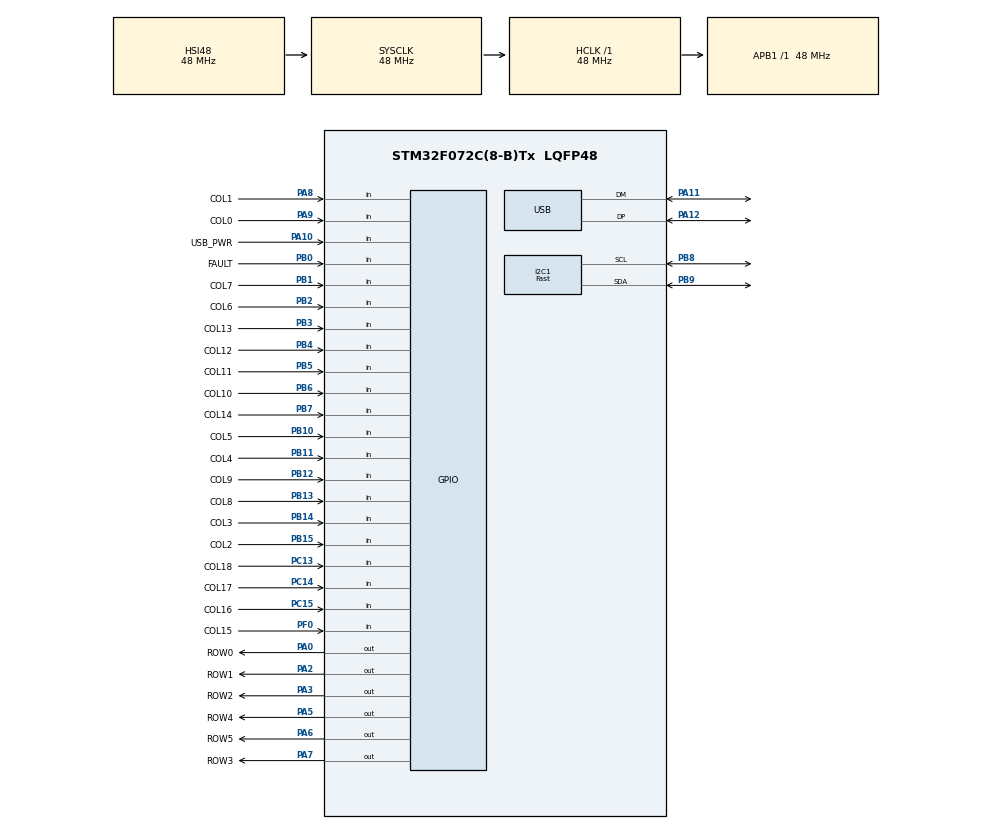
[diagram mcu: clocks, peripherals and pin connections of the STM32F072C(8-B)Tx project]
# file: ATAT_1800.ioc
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I2C1.I2C_Fall_Time=20
I2C1.I2C_Rise_Time=100
I2C1.I2C_Speed_Mode=I2C_Fast
I2C1.NoStretchMode=I2C_NOSTRETCH_DISABLE
I2C1.Speed=400
I2C1.Timing=0x0010020A
Mcu.Family=STM32F0
Mcu.Name=STM32F072C(8-B)Tx
Mcu.Package=LQFP48
NVIC.TIM14_IRQn=true\:1\:0\:true\:false\:true\:true\:true\:true
NVIC.TIM7_IRQn=true\:3\:0\:true\:false\:true\:true\:true\:true
NVIC.USB_IRQn=true\:0\:0\:false\:false\:true\:false\:true\:true
PA0.GPIO_Label=ROW0
PA0.GPIO_ModeDefaultOutputPP=GPIO_MODE_OUTPUT_PP
PA0.GPIO_PuPd=GPIO_NOPULL
PA0.PinState=GPIO_PIN_SET
PA0.Signal=GPIO_Output
PA10.GPIO_Label=USB_PWR
PA10.GPIO_PuPd=GPIO_NOPULL
PA10.Signal=GPIO_Input
PA11.Mode=Device
PA11.Signal=USB_DM
PA12.Mode=Device
PA12.Signal=USB_DP
PA13.Mode=Serial_Wire
PA13.Signal=SYS_SWDIO
PA14.Mode=Serial_Wire
PA14.Signal=SYS_SWCLK
PA2.GPIO_Label=ROW1
PA2.GPIO_ModeDefaultOutputPP=GPIO_MODE_OUTPUT_PP
PA2.GPIO_PuPd=GPIO_NOPULL
PA2.PinState=GPIO_PIN_SET
PA2.Signal=GPIO_Output
PA3.GPIO_Label=ROW2
PA3.GPIO_ModeDefaultOutputPP=GPIO_MODE_OUTPUT_PP
PA3.GPIO_PuPd=GPIO_NOPULL
PA3.PinState=GPIO_PIN_SET
PA3.Signal=GPIO_Output
PA5.GPIO_Label=ROW4
PA5.GPIO_ModeDefaultOutputPP=GPIO_MODE_OUTPUT_PP
PA5.GPIO_PuPd=GPIO_NOPULL
PA5.PinState=GPIO_PIN_SET
PA5.Signal=GPIO_Output
PA6.GPIO_Label=ROW5
PA6.GPIO_ModeDefaultOutputPP=GPIO_MODE_OUTPUT_PP
PA6.GPIO_PuPd=GPIO_NOPULL
PA6.PinState=GPIO_PIN_SET
PA6.Signal=GPIO_Output
PA7.GPIO_Label=ROW3
PA7.GPIO_ModeDefaultOutputPP=GPIO_MODE_OUTPUT_PP
PA7.GPIO_PuPd=GPIO_NOPULL
PA7.PinState=GPIO_PIN_SET
PA7.Signal=GPIO_Output
PA8.GPIO_Label=COL1
PA8.GPIO_PuPd=GPIO_PULLUP
PA8.Signal=GPIO_Input
PA9.GPIO_Label=COL0
PA9.GPIO_PuPd=GPIO_PULLUP
PA9.Signal=GPIO_Input
PB0.GPIO_Label=FAULT
PB0.GPIO_PuPd=GPIO_NOPULL
PB0.Signal=GPIO_Input
PB1.GPIO_Label=COL7
PB1.GPIO_PuPd=GPIO_PULLUP
PB1.Signal=GPIO_Input
PB10.GPIO_Label=COL5
PB10.GPIO_PuPd=GPIO_PULLUP
PB10.Signal=GPIO_Input
PB11.GPIO_Label=COL4
PB11.GPIO_PuPd=GPIO_PULLUP
PB11.Signal=GPIO_Input
PB12.GPIO_Label=COL9
PB12.GPIO_PuPd=GPIO_PULLUP
PB12.Signal=GPIO_Input
PB13.GPIO_Label=COL8
PB13.GPIO_PuPd=GPIO_PULLUP
PB13.Signal=GPIO_Input
PB14.GPIO_Label=COL3
PB14.GPIO_PuPd=GPIO_PULLUP
PB14.Signal=GPIO_Input
PB15.GPIO_Label=COL2
PB15.GPIO_PuPd=GPIO_PULLUP
PB15.Signal=GPIO_Input
PB2.GPIO_Label=COL6
PB2.GPIO_PuPd=GPIO_PULLUP
PB2.Signal=GPIO_Input
PB3.GPIO_Label=COL13
PB3.GPIO_PuPd=GPIO_PULLUP
PB3.Signal=GPIO_Input
PB4.GPIO_Label=COL12
PB4.GPIO_PuPd=GPIO_PULLUP
PB4.Signal=GPIO_Input
PB5.GPIO_Label=COL11
PB5.GPIO_PuPd=GPIO_PULLUP
PB5.Signal=GPIO_Input
PB6.GPIO_Label=COL10
PB6.GPIO_PuPd=GPIO_PULLUP
PB6.Signal=GPIO_Input
PB7.GPIO_Label=COL14
PB7.GPIO_PuPd=GPIO_PULLUP
PB7.Signal=GPIO_Input
PB8.Mode=I2C
PB8.Signal=I2C1_SCL
PB9.Mode=I2C
PB9.Signal=I2C1_SDA
PC13.GPIO_Label=COL18
PC13.GPIO_PuPd=GPIO_PULLUP
PC13.Signal=GPIO_Input
PC14-OSC32_IN.GPIO_Label=COL17
PC14-OSC32_IN.GPIO_PuPd=GPIO_PULLUP
PC14-OSC32_IN.Signal=GPIO_Input
PC15-OSC32_OUT.GPIO_Label=COL16
PC15-OSC32_OUT.GPIO_PuPd=GPIO_PULLUP
PC15-OSC32_OUT.Signal=GPIO_Input
PF0-OSC_IN.GPIO_Label=COL15
PF0-OSC_IN.GPIO_PuPd=GPIO_PULLUP
PF0-OSC_IN.Signal=GPIO_Input
ProjectManager.HeapSize=0x200
ProjectManager.StackSize=0x400
ProjectManager.TargetToolchain=STM32CubeIDE
RCC.AHBFreq_Value=48000000
RCC.APB1Freq_Value=48000000
RCC.APB1TimFreq_Value=48000000
RCC.HCLKFreq_Value=48000000
RCC.SYSCLKFreq_VALUE=48000000
RCC.SYSCLKSource=RCC_SYSCLKSOURCE_HSI48
TIM14.Period=1000
TIM14.Prescaler=48
TIM7.Period=20
TIM7.Prescaler=48000
USB_DEVICE.CLASS_NAME_FS=HID
USB_DEVICE.MANUFACTURER_STRING=ATAT
USB_DEVICE.PRODUCT_STRING_HID_FS=ATAT_1800 Keyboard
USB_DEVICE.VirtualMode=Hid
USB_DEVICE.VirtualModeFS=Hid_FS
VP_TIM14_VS_ClockSourceINT.Mode=Enable_Timer
VP_TIM7_VS_ClockSourceINT.Mode=Enable_Timer
VP_USB_DEVICE_VS_USB_DEVICE_HID_FS.Mode=HID_FS
board=custom

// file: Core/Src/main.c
/* USER CODE BEGIN Header */
/**
  ******************************************************************************
  * @file           : main.c
  * @brief          : Main program body
  ******************************************************************************
  * @attention
  *
  * Copyright (c) 2023 STMicroelectronics.
  * All rights reserved.
  *
  * This software is licensed under terms that can be found in the LICENSE file
  * in the root directory of this software component.
  * If no LICENSE file comes with this software, it is provided AS-IS.
  *
  ******************************************************************************
  */
/* USER CODE END Header */
#include "main.h"
#include "usb_device.h"

/* USER CODE BEGIN Includes */
#include "usbd_hid.h"
#include "mpq3326.h"

/* USER CODE END Includes */

/* USER CODE BEGIN PTD */
#define ROLLOVER 6
typedef struct
{
	uint8_t MODIFIER;
	uint8_t RESERVED;
	uint8_t KEYCODE[ROLLOVER];
}KeyBoardReport_t;

/* USER CODE END PTD */

/* USER CODE BEGIN PD */
const GPIO_t cols[COLS] = {
		{COL0_GPIO_Port,  COL0_Pin},
		{COL1_GPIO_Port,  COL1_Pin},
		{COL2_GPIO_Port,  COL2_Pin},
		{COL3_GPIO_Port,  COL3_Pin},
		{COL4_GPIO_Port,  COL4_Pin},
		{COL5_GPIO_Port,  COL5_Pin},
		{COL6_GPIO_Port,  COL6_Pin},
		{COL7_GPIO_Port,  COL7_Pin},
		{COL8_GPIO_Port,  COL8_Pin},
		{COL9_GPIO_Port,  COL9_Pin},
		{COL10_GPIO_Port, COL10_Pin},
		{COL11_GPIO_Port, COL11_Pin},
		{COL12_GPIO_Port, COL12_Pin},
		{COL13_GPIO_Port, COL13_Pin},
		{COL14_GPIO_Port, COL14_Pin},
		{COL15_GPIO_Port, COL15_Pin},
		{COL16_GPIO_Port, COL16_Pin},
		{COL17_GPIO_Port, COL17_Pin},
		{COL18_GPIO_Port, COL18_Pin},
	};

const GPIO_t rows[ROWS] = {
		{ROW0_GPIO_Port, ROW0_Pin},
		{ROW1_GPIO_Port, ROW1_Pin},
		{ROW2_GPIO_Port, ROW2_Pin},
		{ROW3_GPIO_Port, ROW3_Pin},
		{ROW4_GPIO_Port, ROW4_Pin},
		{ROW5_GPIO_Port, ROW5_Pin},
	};

//mapping of the indicator leds on the driver
const backlight_t Indicator_map[4] = {
		{7, 3}, //Numlock address
		{7, 0}, //CapsLock adress
		{7, 1}, //ScrLock address
		{7, 2}  //MACRO   address
};

const backlight_t Backlight_map[ROWS][COLS] = {
//COL0				1			2			3			4			5			6			7			8			9			10			11			12			13				14			15					16							17					18
//ROW 0
{{1, 6},			{0,0},		{3,5},		{3,6},		{3,11},		{4,5},		{4,6},		{4,11},		{5,2},		{5,7},		{6,3},		{6,4},		{6,8},		{6,11},			{7,6},		{7,7},				{9,2},						{9,3},				{9,4}		},
//ROW 1
{{1, 5},			{1,7},		{3,4},		{3,7},		{3,12},		{4,4},		{4,7},		{4,12},		{5,3},		{5,8},		{5,14},		{6,5},		{6,9},		{6,12},			{7,5},		{7,8},				{9,1},						{9,5},				{9,6}		},
//ROW 2
{{1, 4},			{1,8},		{3,3},		{3,8},		{3,13},		{4,3},		{4,8},		{4,13},		{5,4},		{5,9},		{5,12},		{6,6},		{6,10},		{6,13},			{7,4},		{7,9},				{9,0},						{9,7},				{9,8}		},
//ROW 3
{{1, 3},			{1,9},		{3,2},		{3,9},		{3,14},		{4,2},		{4,9},		{4,14},		{5,5},		{5,10},		{5,13},		{6,7},		{6,14},		{0,0},			{0,0},		{7,10},				{9,15},						{9,10},				{0,0}		},
//ROW 4
{{1, 2},			{1,10},		{3,1},		{3,10},		{3,15},		{4,1},		{4,10},		{4,15},		{5,6},		{5,11},		{6,2},		{6,15},		{0,0},		{0,0},			{7,13},		{7,11},				{9,14},						{9,11},				{9,9}		},
//ROW 5
{{1, 1},			{1,0},		{3,0},		{0,0},		{0,0},		{4,0},		{0,0},		{0,0},		{0,0},		{5,15},		{6,1},		{6,0},		{0,0},		{7,15},			{7,14},		{7,12},				{9,13},						{9,12},				{0,0}		},

};

const char Keycode_map[ROWS][COLS] = {
//COL0				1			2			3			4			5			6			7			8			9			10			11			12			13				14			15					16							17					18
//ROW 0
{Key_ESCAPE, 		0, 			Key_F1, 	Key_F2, 	Key_F3, 	Key_F4, 	Key_F5, 	Key_F6, 	Key_F7, 	Key_F8, 	Key_F9, 	Key_F10, 	Key_F11, 	Key_F12, 		Key_HOME, 	Key_MACRO, 			Key_MACRO, 					Key_MACRO, 			Key_MACRO},
//ROW 1
{Key_GRAVE_ACCENT, 	Key_ONE, 	Key_TWO, 	Key_THREE, 	Key_FOUR, 	Key_FIVE, 	Key_SIX, 	Key_SEVEN, 	Key_EIGHT, 	Key_NINE, 	Key_ZERO, 	Key_MINUS, 	Key_EQUALS, Key_BACKSPACE, 	Key_INSERT, Key_KEYPAD_NUMLOCK, Key_KEYPAD_FORWARD_SLASH, 	Key_KEYPAD_ASTERISK, Key_KEYPAD_MINUS},
//ROW 2
{Key_TAB, 			Key_Q, 		Key_W, 		Key_E, 		Key_R, 		Key_T, 		Key_Y, 		Key_U, 		Key_I, 		Key_O, 		Key_P, 	Key_L_BRACKET, Key_R_BRACKET, Key_BACKSLASH, Key_DELETE, Key_KEYPAD_SEVEN, Key_KEYPAD_EIGHT, 		Key_KEYPAD_NINE, 	Key_KEYPAD_PLUS},
//ROW 3
{Key_CAPS_LOCK, 	Key_A,		Key_S,		Key_D,		Key_F,		Key_G,		Key_H,		Key_J,		Key_K,		Key_L,		Key_SEMICOLON, Key_QUOTE, Key_ENTER, 0, 			0, 			Key_KEYPAD_FOUR, 	Key_KEYPAD_FIVE, 			Key_KEYPAD_SIX, 	0},
//ROW 4
{Key_L_SHIFT,		Key_Z,		Key_X,		Key_C,		Key_V,		Key_B,		Key_N,		Key_M,		Key_COMMA,	Key_PERIOD,	Key_FOW_SLASH,Key_R_SHIFT, 0, 		0, 				Key_UP_ARROW, 	Key_KEYPAD_ONE, 	Key_KEYPAD_TWO, 			Key_KEYPAD_THREE,	Key_KEYPAD_ENTER},
//ROW 5
{Key_L_CTL,			Key_L_WIN,	Key_L_ALT,	0, 			0, 			Key_SPACEBAR, 0, 		0,			0,			Key_R_ALT,	Key_APP,	Key_R_CTL,	0,			Key_L_ARROW,	Key_DOWN_ARROW, Key_R_ARROW,	Key_KEYPAD_ZERO,			Key_KEYPAD_PERIOD,	0}
};

/* USER CODE END PD */

I2C_HandleTypeDef hi2c1;

TIM_HandleTypeDef htim7;
TIM_HandleTypeDef htim14;

/* USER CODE BEGIN PV */

//USB HID frame storage
extern USBD_HandleTypeDef hUsbDeviceFS;
static KeyBoardReport_t keyBoardHIDsub = {0,0,{0,0,0,0,0,0}};

//keyboard state storage
volatile keystate_t Keyboard[ROWS][COLS] = {};
static mpq3326_t ledDriver[10];
int driver_present[10]; //some drivers are not used

//indicator state storage
volatile uint8_t keyBoardLEDState = 0x0;
static uint8_t current_indicators = 0;

//key change flag
volatile unsigned int KEY_CHANGE = 0;
/* USER CODE END PV */

void SystemClock_Config(void);
static void MX_GPIO_Init(void);
static void MX_I2C1_Init(void);
static void MX_TIM14_Init(void);
static void MX_TIM7_Init(void);

/* USER CODE BEGIN 0 */

//initialize backlight drivers
void initBL(void){
  //Parse the keyboard descriptor to enable the necessary channels on the drivers

  //chip addresses are in the range 0x30 0x39
  for (uint16_t i = 0; i<10; i++){

	//set FRFSH=0 and see if the chip ACKs to test if present
	ledDriver[i].refresh = 0x0000;
	if(HAL_I2C_Mem_Write (&hi2c1, (0x30 + i) << 1, 0x02, I2C_MEMADD_SIZE_8BIT, (uint8_t *)&(ledDriver[i].refresh), 1, 100) == HAL_ERROR) {
		driver_present[i] = 0; //this chip does not exist
		continue; //try the next one
	}

	driver_present[i] = 1; //communication with the driver is OK

	//set f_pwm to 250Hz (not used anyway)
	ledDriver[i].fpwm = 0x01;

	//enable chip FLTEN=1 STH=3 LATCH=0
	ledDriver[i].control = 0xBD;

	//TODO dynamic enable
	ledDriver[i].enable = 0xFFFF;

	//set current to half for all leds and duty cycle to 100%
	for (uint16_t j = 0; j<16; j++){
		ledDriver[i].channels[j].current  = 0x01;
		ledDriver[i].channels[j].duty_msb = 0xFF;
		ledDriver[i].channels[j].duty_lsb = 0xFF;
	}

	 //apply all the settings
	for(int i = 0; i < 10; i++){
		HAL_I2C_Mem_Write (&hi2c1, (0x30 + i) << 1, 0x00, I2C_MEMADD_SIZE_8BIT, (uint8_t *)(&ledDriver[i]), sizeof(mpq3326_t), 100);
	}

  }
}

//refresh backlight levels and update drivers
void refreshBL(void){
	for(int i = 0; i < 10; i++){
		if(driver_present[i]) HAL_I2C_Mem_Write (&hi2c1, (0x30 + i) << 1, 0x0A, I2C_MEMADD_SIZE_8BIT, (uint8_t *)(&(ledDriver[i].channels)), 16*sizeof(mpq3326_channel_t), 100);
	}
}

void updateBL(){

	for (int row=0; row < ROWS; row++){
		for (int col=0; col < COLS; col++){
			if(Keyboard[row][col].isPressed) Keyboard[row][col].value = (Keyboard[row][col].value + 5)  | 0x20;
			else if (Keyboard[row][col].value >0) Keyboard[row][col].value--;
			ledDriver[Backlight_map[row][col].DriverID].channels[Backlight_map[row][col].ChannelNbr].current = ((Keyboard[row][col].value>>2) + 2);
		}
	}
}

void updateIndicators(){
	if(keyBoardLEDState!=current_indicators){
		current_indicators = keyBoardLEDState;
		//set led current according to the indicator BIT
		for (int i=0; i<4; i++){
			ledDriver[Indicator_map[i].DriverID].channels[Indicator_map[i].ChannelNbr].current  = (current_indicators & (1<<i)) ? 0x01 : 0x00;
		}
	}
}

//blink all led1 once
//for debug only
void blink_BL(int times){

 for (int j=0; j<times; j++){
	  //ON
	  for (uint16_t i = 0; i<10; i++){
		  ledDriver[i].channels[1].current = 0x0F; //led 1 of each driver ON
	  }
	  refreshBL();
	  HAL_Delay(150);

	  //OFF
	  for (uint16_t i = 0; i<10; i++){
		  ledDriver[i].channels[1].current = 0x00; //led 1 of each driver OFF
	  }
	  refreshBL();
	  HAL_Delay(150);
 }
 HAL_Delay(200);

}

//update HID report content
//return 0 if OK
//return 1 if NOK (unknown keycode or more than 6 keys already present)
//return 2 if WTF
int updateReport(int keycode, int pressed){
	uint16_t i = 0;

	//is this a modifier key?
	if(keycode&0x80){
		if(pressed) keyBoardHIDsub.MODIFIER |= 1<<(keycode&0x0F); //if pressed set the corresponding bit to 1
		else keyBoardHIDsub.MODIFIER &= ~(1<<(keycode&0x0F)); //if released set the corresponding bit to  0
		return 0; //this never fails as each modifier key has its own bit
	}

	//if we are here this is a normal key
	if (pressed){
		uint16_t free_slot = ROLLOVER;
		for (i = 0; i<ROLLOVER; i++){
			if(keyBoardHIDsub.KEYCODE[i] == keycode) return 2;//WTF this key is pressed already bail out
			if(keyBoardHIDsub.KEYCODE[i] == 0 && free_slot == ROLLOVER) free_slot = i; //yay there is space to add the keycode
		}
		if(free_slot >= ROLLOVER) return 1; //more than 6 keys are pressed at the same time. put your other hand back on the mouse (﻿ ͡° ͜ʖ ͡°)
		keyBoardHIDsub.KEYCODE[free_slot] = keycode; //add the keycode to the lowest free spot
		return 0; //done
	}
	else{
		for (i = 0; i<ROLLOVER; i++){
			if(keyBoardHIDsub.KEYCODE[i] == keycode){//we found the key
				keyBoardHIDsub.KEYCODE[i] = 0; //boom
				return 0; //done
			}
		}
		return 2; //WTF you released a key that wasnt pressed! get outta here !
	}

}

//update key status, deprecated (scan is now done on timer interrupt)
//scans all keys and sends a report if there was a change
void refreshKeys(void){
	for (int row=0; row < ROWS; row++){
		HAL_GPIO_WritePin(rows[row].Port, rows[row].Pin, GPIO_PIN_RESET); // set this pin to LOW
		HAL_Delay(1); //settle time

		for (int col=0; col < COLS; col++){
			int k = HAL_GPIO_ReadPin(cols[col].Port, cols[col].Pin);
			if (Keyboard[row][col].isPressed == k){
				Keyboard[row][col].hasChanged = 1;
				Keyboard[row][col].isPressed = !k;
				updateReport(Keycode_map[row][col], Keyboard[row][col].isPressed);
				KEY_CHANGE = 1;
			}
		}
		HAL_GPIO_WritePin(rows[row].Port, rows[row].Pin, GPIO_PIN_SET); // set it back to hi z
	}
	//if any key was pressed or released, send the damn thing
	if(KEY_CHANGE) {
		KEY_CHANGE = USBD_HID_SendReport(&hUsbDeviceFS, (uint8_t *)&keyBoardHIDsub,sizeof(keyBoardHIDsub));
		HAL_Delay(10); //USB rate limiting
	}
}

/* USER CODE END 0 */

int main(void)
{
	uint32_t USBDelay;

  /* MCU Configuration--------------------------------------------------------*/

  /* Reset of all peripherals, Initializes the Flash interface and the Systick. */
  HAL_Init();

  /* Configure the system clock */
  SystemClock_Config();

  /* Initialize all configured peripherals */
  MX_GPIO_Init();
  MX_I2C1_Init();
  MX_USB_DEVICE_Init();

  USBDelay = USBD_HID_GetPollingInterval(&hUsbDeviceFS);

  MX_TIM14_Init();
  MX_TIM7_Init();
  /* USER CODE BEGIN 2 */

  HAL_Delay(20);
  //init all led drivers
  initBL();

  //start keyboard refresh timer
  HAL_TIM_Base_Start_IT(&htim14);

  //start backlight and macro refresh timer
  HAL_TIM_Base_Start_IT(&htim7);

  /* USER CODE END 2 */

  /* Infinite loop */
  while (1)
  {

    /* USER CODE BEGIN 3 */
	//this while loop can be preempted by either the scan timer interrupt or macro/backlight interrupt
	//however, the USB PCD routine triggered by USBD_HID_SendReport is highest priority, so it wont be interrupted
	if(KEY_CHANGE) {
		USBD_HID_SendReport(&hUsbDeviceFS, (uint8_t *)&keyBoardHIDsub,sizeof(keyBoardHIDsub));
		KEY_CHANGE--;
		HAL_Delay(USBDelay); //USB polling rate is about 100Hz, updating faster than that causes problems
	}
  }
  /* USER CODE END 3 */
}

void SystemClock_Config(void)
{
  RCC_OscInitTypeDef RCC_OscInitStruct = {0};
  RCC_ClkInitTypeDef RCC_ClkInitStruct = {0};
  RCC_PeriphCLKInitTypeDef PeriphClkInit = {0};

  /** Initializes the RCC Oscillators according to the specified parameters
  * in the RCC_OscInitTypeDef structure.
  */
  RCC_OscInitStruct.OscillatorType = RCC_OSCILLATORTYPE_HSI|RCC_OSCILLATORTYPE_HSI48;
  RCC_OscInitStruct.HSIState = RCC_HSI_ON;
  RCC_OscInitStruct.HSI48State = RCC_HSI48_ON;
  RCC_OscInitStruct.HSICalibrationValue = RCC_HSICALIBRATION_DEFAULT;
  RCC_OscInitStruct.PLL.PLLState = RCC_PLL_NONE;
  if (HAL_RCC_OscConfig(&RCC_OscInitStruct) != HAL_OK)
  {
    Error_Handler();
  }

  /** Initializes the CPU, AHB and APB buses clocks
  */
  RCC_ClkInitStruct.ClockType = RCC_CLOCKTYPE_HCLK|RCC_CLOCKTYPE_SYSCLK
                              |RCC_CLOCKTYPE_PCLK1;
  RCC_ClkInitStruct.SYSCLKSource = RCC_SYSCLKSOURCE_HSI48;
  RCC_ClkInitStruct.AHBCLKDivider = RCC_SYSCLK_DIV1;
  RCC_ClkInitStruct.APB1CLKDivider = RCC_HCLK_DIV1;

  if (HAL_RCC_ClockConfig(&RCC_ClkInitStruct, FLASH_LATENCY_1) != HAL_OK)
  {
    Error_Handler();
  }
  PeriphClkInit.PeriphClockSelection = RCC_PERIPHCLK_USB|RCC_PERIPHCLK_I2C1;
  PeriphClkInit.I2c1ClockSelection = RCC_I2C1CLKSOURCE_HSI;
  PeriphClkInit.UsbClockSelection = RCC_USBCLKSOURCE_HSI48;

  if (HAL_RCCEx_PeriphCLKConfig(&PeriphClkInit) != HAL_OK)
  {
    Error_Handler();
  }
}

static void MX_I2C1_Init(void)
{

  hi2c1.Instance = I2C1;
  hi2c1.Init.Timing = 0x0010020A;
  hi2c1.Init.OwnAddress1 = 0;
  hi2c1.Init.AddressingMode = I2C_ADDRESSINGMODE_7BIT;
  hi2c1.Init.DualAddressMode = I2C_DUALADDRESS_DISABLE;
  hi2c1.Init.OwnAddress2 = 0;
  hi2c1.Init.OwnAddress2Masks = I2C_OA2_NOMASK;
  hi2c1.Init.GeneralCallMode = I2C_GENERALCALL_DISABLE;
  hi2c1.Init.NoStretchMode = I2C_NOSTRETCH_DISABLE;
  if (HAL_I2C_Init(&hi2c1) != HAL_OK)
  {
    Error_Handler();
  }

  /** Configure Analogue filter
  */
  if (HAL_I2CEx_ConfigAnalogFilter(&hi2c1, I2C_ANALOGFILTER_ENABLE) != HAL_OK)
  {
    Error_Handler();
  }

  /** Configure Digital filter
  */
  if (HAL_I2CEx_ConfigDigitalFilter(&hi2c1, 0) != HAL_OK)
  {
    Error_Handler();
  }

}

static void MX_TIM7_Init(void)
{

  TIM_MasterConfigTypeDef sMasterConfig = {0};

  htim7.Instance = TIM7;
  htim7.Init.Prescaler = 48000;
  htim7.Init.CounterMode = TIM_COUNTERMODE_UP;
  htim7.Init.Period = 20;
  htim7.Init.AutoReloadPreload = TIM_AUTORELOAD_PRELOAD_DISABLE;
  if (HAL_TIM_Base_Init(&htim7) != HAL_OK)
  {
    Error_Handler();
  }
  sMasterConfig.MasterOutputTrigger = TIM_TRGO_RESET;
  sMasterConfig.MasterSlaveMode = TIM_MASTERSLAVEMODE_DISABLE;
  if (HAL_TIMEx_MasterConfigSynchronization(&htim7, &sMasterConfig) != HAL_OK)
  {
    Error_Handler();
  }

}

static void MX_TIM14_Init(void)
{

  htim14.Instance = TIM14;
  htim14.Init.Prescaler = 48;
  htim14.Init.CounterMode = TIM_COUNTERMODE_UP;
  htim14.Init.Period = 1000;
  htim14.Init.ClockDivision = TIM_CLOCKDIVISION_DIV1;
  htim14.Init.AutoReloadPreload = TIM_AUTORELOAD_PRELOAD_DISABLE;
  if (HAL_TIM_Base_Init(&htim14) != HAL_OK)
  {
    Error_Handler();
  }

}

static void MX_GPIO_Init(void)
{
  GPIO_InitTypeDef GPIO_InitStruct = {0};

  /* GPIO Ports Clock Enable */
  __HAL_RCC_GPIOC_CLK_ENABLE();
  __HAL_RCC_GPIOF_CLK_ENABLE();
  __HAL_RCC_GPIOA_CLK_ENABLE();
  __HAL_RCC_GPIOB_CLK_ENABLE();

  /*Configure GPIO pin Output Level */
  HAL_GPIO_WritePin(GPIOA, ROW0_Pin|ROW1_Pin|ROW2_Pin|ROW4_Pin
                          |ROW5_Pin|ROW3_Pin, GPIO_PIN_SET);

  /*Configure GPIO pins : COL18_Pin COL17_Pin COL16_Pin */
  GPIO_InitStruct.Pin = COL18_Pin|COL17_Pin|COL16_Pin;
  GPIO_InitStruct.Mode = GPIO_MODE_INPUT;
  GPIO_InitStruct.Pull = GPIO_PULLUP;
  HAL_GPIO_Init(GPIOC, &GPIO_InitStruct);

  /*Configure GPIO pin : COL15_Pin */
  GPIO_InitStruct.Pin = COL15_Pin;
  GPIO_InitStruct.Mode = GPIO_MODE_INPUT;
  GPIO_InitStruct.Pull = GPIO_PULLUP;
  HAL_GPIO_Init(COL15_GPIO_Port, &GPIO_InitStruct);

  /*Configure GPIO pins : ROW0_Pin ROW1_Pin ROW2_Pin ROW4_Pin
                           ROW5_Pin ROW3_Pin */
  GPIO_InitStruct.Pin = ROW0_Pin|ROW1_Pin|ROW2_Pin|ROW4_Pin
                          |ROW5_Pin|ROW3_Pin;
  GPIO_InitStruct.Mode = GPIO_MODE_OUTPUT_PP;
  GPIO_InitStruct.Pull = GPIO_NOPULL;
  GPIO_InitStruct.Speed = GPIO_SPEED_FREQ_LOW;
  HAL_GPIO_Init(GPIOA, &GPIO_InitStruct);

  /*Configure GPIO pin : FAULT_Pin */
  GPIO_InitStruct.Pin = FAULT_Pin;
  GPIO_InitStruct.Mode = GPIO_MODE_INPUT;
  GPIO_InitStruct.Pull = GPIO_NOPULL;
  HAL_GPIO_Init(FAULT_GPIO_Port, &GPIO_InitStruct);

  /*Configure GPIO pins : COL7_Pin COL6_Pin COL5_Pin COL4_Pin
                           COL9_Pin COL8_Pin COL3_Pin COL2_Pin
                           COL13_Pin COL12_Pin COL11_Pin COL10_Pin
                           COL14_Pin */
  GPIO_InitStruct.Pin = COL7_Pin|COL6_Pin|COL5_Pin|COL4_Pin
                          |COL9_Pin|COL8_Pin|COL3_Pin|COL2_Pin
                          |COL13_Pin|COL12_Pin|COL11_Pin|COL10_Pin
                          |COL14_Pin;
  GPIO_InitStruct.Mode = GPIO_MODE_INPUT;
  GPIO_InitStruct.Pull = GPIO_PULLUP;
  HAL_GPIO_Init(GPIOB, &GPIO_InitStruct);

  /*Configure GPIO pins : COL1_Pin COL0_Pin */
  GPIO_InitStruct.Pin = COL1_Pin|COL0_Pin;
  GPIO_InitStruct.Mode = GPIO_MODE_INPUT;
  GPIO_InitStruct.Pull = GPIO_PULLUP;
  HAL_GPIO_Init(GPIOA, &GPIO_InitStruct);

  /*Configure GPIO pin : USB_PWR_Pin */
  GPIO_InitStruct.Pin = USB_PWR_Pin;
  GPIO_InitStruct.Mode = GPIO_MODE_INPUT;
  GPIO_InitStruct.Pull = GPIO_NOPULL;
  HAL_GPIO_Init(USB_PWR_GPIO_Port, &GPIO_InitStruct);

}

void Error_Handler(void)
{
  __disable_irq();
  while (1)
  {
  }
}
